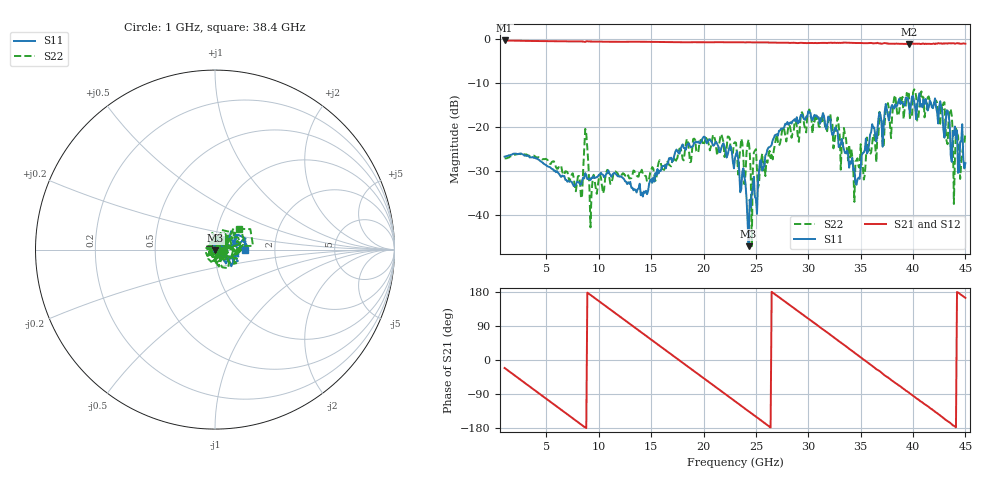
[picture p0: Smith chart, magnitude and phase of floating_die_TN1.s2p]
!Keysight Technologies,N5247B,MY61255062,A.19.80.06
!Date: Monday, May 18, 2026 13:02:03
!Correction: S11(Cdelta 2-Port  )
!S21(Cdelta 2-Port  )
!S12(Cdelta 2-Port  )
!S22(Cdelta 2-Port  )
!S2P File: Measurements: S11, S21, S12, S22:
# Hz S  dB  R 50
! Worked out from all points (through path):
!   441 points, 1 GHz to 45 GHz, reference 50 ohm
!   highest |S21| = -0.41 dB at 1 GHz (marker M1); lowest = -1.3 dB at 39.6 GHz (marker M2)
!   group delay of S21, straight-line fit = 56.5 ps
!   lowest |S11| = -47.2 dB at 24.3 GHz (marker M3), VSWR 1.01, Z = 50.2 - j0.405 ohm
!   |S11| at or under -10 dB: start of sweep to end of sweep
!   |S22| runs from -47.2 to -11.5 dB; largest |S21 - S12| = 0.016
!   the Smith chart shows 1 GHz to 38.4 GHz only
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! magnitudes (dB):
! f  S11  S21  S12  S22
! 1 GHz  -26.8  -0.4  -0.4  -27.2
! 8.4 GHz  -32.3  -0.6  -0.6  -35.7
! 8.8 GHz  -31.0  -0.6  -0.6  -21.7
! 9.3 GHz  -31.6  -0.7  -0.7  -35.1
! 14.2 GHz  -35.9  -0.7  -0.7  -30.7
! 15.7 GHz  -30.7  -0.8  -0.7  -28.2
! 20 GHz  -22.3  -0.8  -0.8  -24.3
! 23 GHz  -27.2  -0.8  -0.8  -23.5
! 24.3 GHz  -47.2  -0.8  -0.8  -22.9
! 24.7 GHz  -34.2  -0.9  -0.8  -30.2
! 26.8 GHz  -22.0  -0.9  -0.9  -24.2
! 30.4 GHz  -18.6  -1.0  -1.0  -21.6
! 32.6 GHz  -20.2  -1.0  -1.0  -21.7
! 34.7 GHz  -32.0  -1.0  -1.0  -27.2
! 36.1 GHz  -19.4  -1.0  -1.1  -23.8
! 37.7 GHz  -18.6  -1.2  -1.2  -15.9
! 39.6 GHz  -15.3  -1.3  -1.2  -12.5
! 43.3 GHz  -16.4  -1.1  -1.1  -24.0
! 43.6 GHz  -26.5  -1.1  -1.0  -16.0
! 43.8 GHz  -21.0  -1.1  -1.1  -21.6
! 44.6 GHz  -23.4  -1.1  -1.0  -28.5
! 45 GHz  -28.3  -1.1  -1.2  -21.4
